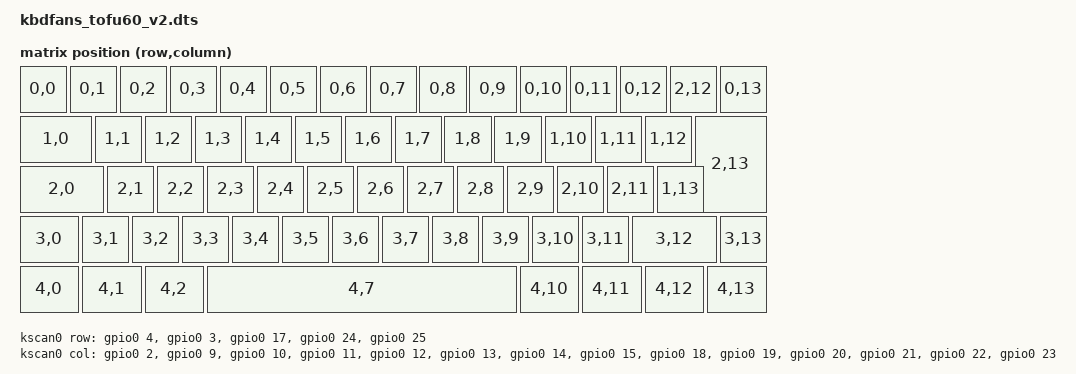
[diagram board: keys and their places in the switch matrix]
/*
 * Copyright (c) 2023 The ZMK Contributors
 * SPDX-License-Identifier: MIT
 */

/dts-v1/;

#include <rpi_pico/rp2040.dtsi>
#include <dt-bindings/zmk/matrix_transform.h>
#include <physical_layouts.dtsi>

#if __has_include(<dt-bindings/my/kbdfans_tofu60_v2-transform-option.h>)
#include <dt-bindings/my/kbdfans_tofu60_v2-transform-option.h>
#else

/*
 * select option
 *  0=deselect
 *  1=select
 */
#define SPLIT_BS 0
#define ISO_ENTER 0
#define SPLIT_LEFT_SHIFT 0
#define SPLIT_RIGHT_SHIFT 0

/*
 * options for bootom row
 */
#define BOTTOM_ROW_ANSI 0
#define BOTTOM_ROW_TSANGAN 1
#define BOTTOM_ROW_HHKB 2
#define BOTTOM_ROW_WKL 3

/*
 * choice of the options for bottom row
 */
#define BOTTOM_ROW BOTTOM_ROW_ANSI

#endif

/ {
  chosen {
    zephyr,sram = &sram0;
    zephyr,flash = &flash0;
    zephyr,code-partition = &code_partition;
    zmk,kscan = &kscan0;
    // zmk,matrix_transform = &default_transform;
  };

  xtal_clk: xtal-clk {
    compatible = "fixed-clock";
    clock-frequency = <12000000>;
    #clock-cells = <0>;
  };

  default_transform: keymap_transform_0 {
    compatible = "zmk,matrix-transform";
    columns = <14>;
    rows = <5>;
    map = <
      // row 0
      RC(0,0) RC(0,1) RC(0,2) RC(0,3) RC(0,4) RC(0,5) RC(0,6) RC(0,7) RC(0,8) RC(0,9) RC(0,10) RC(0,11) RC(0,12)
#if SPLIT_BS
      RC(2,12)
#endif
      RC(0,13)

      // row 1
      RC(1,0) RC(1,1) RC(1,2) RC(1,3) RC(1,4) RC(1,5) RC(1,6) RC(1,7) RC(1,8) RC(1,9) RC(1,10) RC(1,11) RC(1,12)
#if ISO_ENTER
      RC(2,13) /* ISO ENTER */
#else
      RC(1,13)
#endif
      // row 2
      RC(2,0) RC(2,1) RC(2,2) RC(2,3) RC(2,4) RC(2,5) RC(2,6) RC(2,7) RC(2,8) RC(2,9) RC(2,10) RC(2,11)
#if ISO_ENTER
      RC(1,13)
#else
      RC(2,13)  /* ANSI ENTER */
#endif

      // row 3
      RC(3,0)
#if SPLIT_LEFT_SHIFT
      RC(3,1)
#endif
      RC(3,2) RC(3,3) RC(3,4) RC(3,5) RC(3,6) RC(3,7) RC(3,8) RC(3,9) RC(3,10) RC(3,11) RC(3,12)
#if SPLIT_RIGHT_SHIFT
      RC(3,13)
#endif

      // row 4
#if BOTTOM_ROW == BOTTOM_ROW_ANSI
      RC(4,0) RC(4,1) RC(4,2) RC(4,7) RC(4,10) RC(4,11) RC(4,12) RC(4,13)
#elif BOTTOM_ROW == BOTTOM_ROW_TSANGAN
      RC(4,0) RC(4,1) RC(4,2) RC(4,7) RC(4,11) RC(4,12) RC(4,13)
#elif BOTTOM_ROW == BOTTOM_ROW_HHKB
      RC(4,1) RC(4,2) RC(4,7) RC(4,11) RC(4,12)
#elif BOTTOM_ROW == BOTTOM_ROW_WKL
      RC(4,0) RC(4,2) RC(4,7) RC(4,11) RC(4,13)
#endif
    >;
  };

  kscan0: kscan {
    compatible = "zmk,kscan-gpio-matrix";

    diode-direction = "col2row";
    row-gpios
      = <&gpio0 4 (GPIO_ACTIVE_HIGH | GPIO_PULL_DOWN)>
      , <&gpio0 3 (GPIO_ACTIVE_HIGH | GPIO_PULL_DOWN)>
      , <&gpio0 17 (GPIO_ACTIVE_HIGH | GPIO_PULL_DOWN)>
      , <&gpio0 24 (GPIO_ACTIVE_HIGH | GPIO_PULL_DOWN)>
      , <&gpio0 25 (GPIO_ACTIVE_HIGH | GPIO_PULL_DOWN)>
      ;
    col-gpios
      = <&gpio0 2 GPIO_ACTIVE_HIGH>
      , <&gpio0 9 GPIO_ACTIVE_HIGH>
      , <&gpio0 10 GPIO_ACTIVE_HIGH>
      , <&gpio0 11 GPIO_ACTIVE_HIGH>
      , <&gpio0 12 GPIO_ACTIVE_HIGH>
      , <&gpio0 13 GPIO_ACTIVE_HIGH>
      , <&gpio0 14 GPIO_ACTIVE_HIGH>
      , <&gpio0 15 GPIO_ACTIVE_HIGH>
      , <&gpio0 18 GPIO_ACTIVE_HIGH>
      , <&gpio0 19 GPIO_ACTIVE_HIGH>
      , <&gpio0 20 GPIO_ACTIVE_HIGH>
      , <&gpio0 21 GPIO_ACTIVE_HIGH>
      , <&gpio0 22 GPIO_ACTIVE_HIGH>
      , <&gpio0 23 GPIO_ACTIVE_HIGH>
      ;
  };


  default_layout: layout0 {
    compatible = "zmk,physical-layout";
#if BOTTOM_ROW == BOTTOM_ROW_ANSI
    display-name = "ANSI";
#elif BOTTOM_ROW == BOTTOM_ROW_TSANGAN
    display-name = "TSANGAN";
#elif BOTTOM_ROW == BOTTOM_ROW_HHKB
    display-name = "HHKB";
#elif BOTTOM_ROW == BOTTOM_ROW_WKL
    display-name = "WKL";
#endif
    kscan = <&kscan0>;
    transform = <&default_transform>;
    keys  //                   w   h    x    y     rot    rx    ry
      // row 0
      = <&key_physical_attrs 100 100    0    0       0     0     0>
      , <&key_physical_attrs 100 100  100    0       0     0     0>
      , <&key_physical_attrs 100 100  200    0       0     0     0>
      , <&key_physical_attrs 100 100  300    0       0     0     0>
      , <&key_physical_attrs 100 100  400    0       0     0     0>
      , <&key_physical_attrs 100 100  500    0       0     0     0>
      , <&key_physical_attrs 100 100  600    0       0     0     0>
      , <&key_physical_attrs 100 100  700    0       0     0     0>
      , <&key_physical_attrs 100 100  800    0       0     0     0>
      , <&key_physical_attrs 100 100  900    0       0     0     0>
      , <&key_physical_attrs 100 100 1000    0       0     0     0>
      , <&key_physical_attrs 100 100 1100    0       0     0     0>
      , <&key_physical_attrs 100 100 1200    0       0     0     0>
#if SPLIT_BS
      , <&key_physical_attrs 100 100 1300    0       0     0     0>
      , <&key_physical_attrs 100 100 1400    0       0     0     0>
#else
      , <&key_physical_attrs 200 100 1300    0       0     0     0>
#endif

      // row 1
      , <&key_physical_attrs 150 100    0  100       0     0     0>
      , <&key_physical_attrs 100 100  150  100       0     0     0>
      , <&key_physical_attrs 100 100  250  100       0     0     0>
      , <&key_physical_attrs 100 100  350  100       0     0     0>
      , <&key_physical_attrs 100 100  450  100       0     0     0>
      , <&key_physical_attrs 100 100  550  100       0     0     0>
      , <&key_physical_attrs 100 100  650  100       0     0     0>
      , <&key_physical_attrs 100 100  750  100       0     0     0>
      , <&key_physical_attrs 100 100  850  100       0     0     0>
      , <&key_physical_attrs 100 100  950  100       0     0     0>
      , <&key_physical_attrs 100 100 1050  100       0     0     0>
      , <&key_physical_attrs 100 100 1150  100       0     0     0>
      , <&key_physical_attrs 100 100 1250  100       0     0     0>
#if ISO_ENTER
      , <&key_physical_attrs 150 200 1350  100       0     0     0>
#else
      , <&key_physical_attrs 150 100 1350  100       0     0     0>
#endif

      // row 2
      , <&key_physical_attrs 175 100    0  200       0     0     0>
      , <&key_physical_attrs 100 100  175  200       0     0     0>
      , <&key_physical_attrs 100 100  275  200       0     0     0>
      , <&key_physical_attrs 100 100  375  200       0     0     0>
      , <&key_physical_attrs 100 100  475  200       0     0     0>
      , <&key_physical_attrs 100 100  575  200       0     0     0>
      , <&key_physical_attrs 100 100  675  200       0     0     0>
      , <&key_physical_attrs 100 100  775  200       0     0     0>
      , <&key_physical_attrs 100 100  875  200       0     0     0>
      , <&key_physical_attrs 100 100  975  200       0     0     0>
      , <&key_physical_attrs 100 100 1075  200       0     0     0>
      , <&key_physical_attrs 100 100 1175  200       0     0     0>
#if ISO_ENTER
      , <&key_physical_attrs 100 100 1275  200       0     0     0>
#else
      , <&key_physical_attrs 225 100 1275  200       0     0     0>
#endif

      // row 3
#if SPLIT_LEFT_SHIFT
      , <&key_physical_attrs 125 100    0  300       0     0     0>
      , <&key_physical_attrs 100 100  125  300       0     0     0>
#else
      , <&key_physical_attrs 225 100    0  300       0     0     0>
#endif
      , <&key_physical_attrs 100 100  225  300       0     0     0>
      , <&key_physical_attrs 100 100  325  300       0     0     0>
      , <&key_physical_attrs 100 100  425  300       0     0     0>
      , <&key_physical_attrs 100 100  525  300       0     0     0>
      , <&key_physical_attrs 100 100  625  300       0     0     0>
      , <&key_physical_attrs 100 100  725  300       0     0     0>
      , <&key_physical_attrs 100 100  825  300       0     0     0>
      , <&key_physical_attrs 100 100  925  300       0     0     0>
      , <&key_physical_attrs 100 100 1025  300       0     0     0>
      , <&key_physical_attrs 100 100 1125  300       0     0     0>
#if SPLIT_RIGHT_SHIFT
      , <&key_physical_attrs 175 100 1225  300       0     0     0>
      , <&key_physical_attrs 100 100 1400  300       0     0     0>
#else
      , <&key_physical_attrs 275 100 1225  300       0     0     0>
#endif

      // row 4
#if BOTTOM_ROW == BOTTOM_ROW_ANSI
      , <&key_physical_attrs 125 100    0  400       0     0     0>
      , <&key_physical_attrs 125 100  125  400       0     0     0>
      , <&key_physical_attrs 125 100  250  400       0     0     0>
      , <&key_physical_attrs 625 100  375  400       0     0     0>
      , <&key_physical_attrs 125 100 1000  400       0     0     0>
      , <&key_physical_attrs 125 100 1125  400       0     0     0>
      , <&key_physical_attrs 125 100 1250  400       0     0     0>
      , <&key_physical_attrs 125 100 1375  400       0     0     0>
#elif BOTTOM_ROW == BOTTOM_ROW_TSANGAN
      , <&key_physical_attrs 150 100    0  400       0     0     0>
      , <&key_physical_attrs 100 100  150  400       0     0     0>
      , <&key_physical_attrs 150 100  250  400       0     0     0>
      , <&key_physical_attrs 700 100  400  400       0     0     0>
      , <&key_physical_attrs 150 100 1100  400       0     0     0>
      , <&key_physical_attrs 100 100 1250  400       0     0     0>
      , <&key_physical_attrs 150 100 1350  400       0     0     0>
#elif BOTTOM_ROW == BOTTOM_ROW_HHKB
      , <&key_physical_attrs 100 100  150  400       0     0     0>
      , <&key_physical_attrs 150 100  250  400       0     0     0>
      , <&key_physical_attrs 700 100  400  400       0     0     0>
      , <&key_physical_attrs 150 100 1100  400       0     0     0>
      , <&key_physical_attrs 100 100 1250  400       0     0     0>
#elif BOTTOM_ROW == BOTTOM_ROW_WKL
      , <&key_physical_attrs 150 100    0  400       0     0     0>
      , <&key_physical_attrs 150 100  250  400       0     0     0>
      , <&key_physical_attrs 700 100  400  400       0     0     0>
      , <&key_physical_attrs 150 100 1100  400       0     0     0>
      , <&key_physical_attrs 150 100 1350  400       0     0     0>
#endif
      ;
  };

  leds {
    compatible = "gpio-leds";
    caps_lock_led: caps_lock_led {
      gpios = <&gpio0 28 GPIO_ACTIVE_HIGH>;
    };
  };
};

&flash0 {
  /*
   * Winbond W25Q16 16Mbit 2Mbytes
   * jeced-id EF,40,15
   */
  reg = <0x10000000 DT_SIZE_M(2)>;

  partitions {
    compatible = "fixed-partitions";
    #address-cells = <1>;
    #size-cells = <1>;

    /* Reserved memory for the second stage bootloader */
    second_stage_bootloader: partition@0 {
      reg = <0x00000000 0x100>;
      read-only;
    };

    /*
     * Usable flash. Starts at 0x100, after the bootloader. The partition
     * size is 2MB minus the 0x100 bytes taken by the bootloader.
     * JEDEC ID = [ef 40 15];
     */
    code_partition: partition@100 {
      reg = <0x100 (DT_SIZE_M(2) - 0x100)>;
      read-only;
    };
  };
};

zephyr_udc0: &usbd {
  status = "okay";
};

&gpio0 {
  status = "okay";
};
